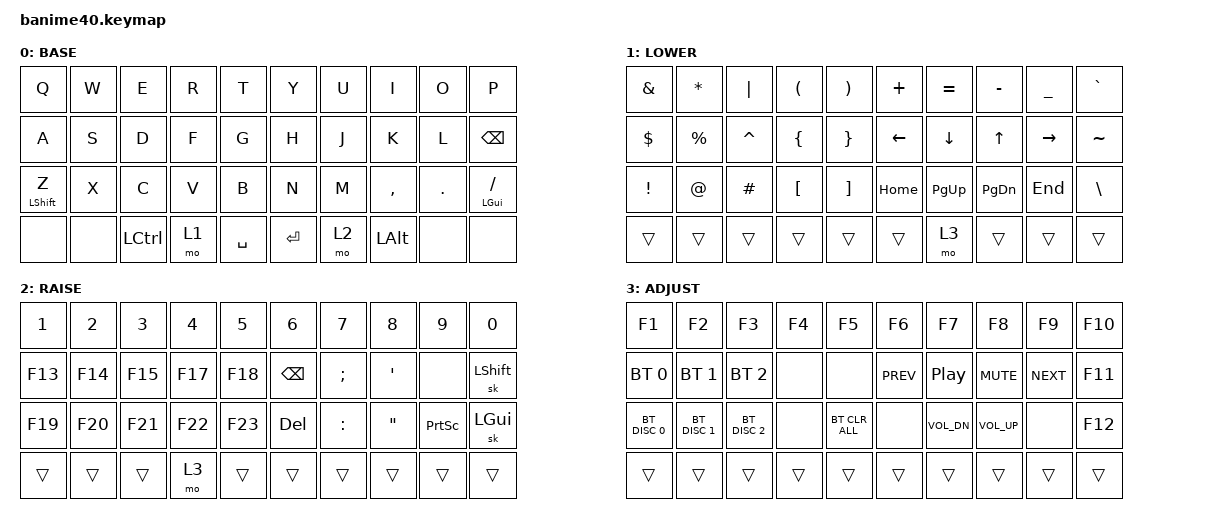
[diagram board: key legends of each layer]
/*
 * banime40 — ZMK keymap
 *
 * NOTE: keyboard.json (QMK) chỉ chứa phần cấu hình phần cứng, KHÔNG chứa
 * keymap.c, nên keymap dưới đây là bố cục ortho 4x10 mặc định hợp lý.
 * Chỉnh sửa tự do — mỗi layer đúng 40 phím (4 hàng x 10 cột).
 *
 * Layers:
 *   0 BASE   — QWERTY
 *   1 LOWER  — số & ký hiệu
 *   2 RAISE  — điều hướng & phím chức năng
 *   3 ADJUST — Bluetooth / reset / bootloader (LOWER + RAISE)
 */

#include <behaviors.dtsi>
#include <dt-bindings/zmk/bt.h>
#include <dt-bindings/zmk/keys.h>

&mt {
    tapping-term-ms = <230>;
    retro-tap;
};

&sk {
    release-after-ms = <300>;
    lazy;

    /delete-property/ ignore-modifiers;
};

/ {
    conditional_layers { compatible = "zmk,conditional-layers"; };

    combos {
        compatible = "zmk,combos";

        esc {
            bindings = <&kp ESC>;
            key-positions = <12 13>;
            timeout-ms = <50>;
        };

        backspace {
            bindings = <&kp BACKSPACE>;
            key-positions = <16 17>;
            timeout-ms = <50>;
        };

        tab {
            bindings = <&kp TAB>;
            key-positions = <12 11>;
            timeout-ms = <50>;
        };

        shift {
            bindings = <&sk LSHIFT>;
            key-positions = <20 21>;
            timeout-ms = <50>;
        };

        gui {
            bindings = <&sk LEFT_GUI>;
            key-positions = <21 22>;
            timeout-ms = <50>;
        };

        del {
            bindings = <&kp BACKSPACE>;
            key-positions = <16 17>;
            layers = <1>;
            timeout-ms = <50>;
        };

        cap {
            bindings = <&caps_word>;
            key-positions = <13 16>;
            timeout-ms = <50>;
        };
    };

    keymap {
        compatible = "zmk,keymap";

        base_layer {
            display-name = "BASE";
            bindings = <
&kp Q         &kp W  &kp E      &kp R  &kp T      &kp Y      &kp U  &kp I         &kp O    &kp P
&kp A         &kp S  &kp D      &kp F  &kp G      &kp H      &kp J  &kp K         &kp L    &kp BACKSPACE
&mt LSHIFT Z  &kp X  &kp C      &kp V  &kp B      &kp N      &kp M  &kp COMMA     &kp DOT  &mt LEFT_GUI SLASH
&none         &none  &kp LCTRL  &mo 1  &kp SPACE  &kp ENTER  &mo 2  &kp LEFT_ALT  &none    &none
            >;
        };

        lower_layer {
            display-name = "LOWER";
            bindings = <
&kp AMPS    &kp ASTRK    &kp PIPE   &kp LEFT_PARENTHESIS  &kp RIGHT_PARENTHESIS  &kp PLUS  &kp EQUAL    &kp MINUS      &kp UNDER  &kp GRAVE
&kp DOLLAR  &kp PERCENT  &kp CARET  &kp LEFT_BRACE        &kp RIGHT_BRACE        &kp LEFT  &kp DOWN     &kp UP         &kp RIGHT  &kp TILDE
&kp EXCL    &kp AT       &kp HASH   &kp LBKT              &kp RBKT               &kp HOME  &kp PAGE_UP  &kp PAGE_DOWN  &kp END    &kp BACKSLASH
&trans      &trans       &trans     &trans                &trans                 &trans    &mo 3        &trans         &trans     &trans
            >;
        };

        raise_layer {
            display-name = "RAISE";
            bindings = <
&kp N1   &kp N2   &kp N3   &kp N4   &kp N5   &kp N6         &kp N7     &kp N8            &kp N9     &kp N0
&kp F13  &kp F14  &kp F15  &kp F17  &kp F18  &kp BACKSPACE  &kp SEMI   &kp SINGLE_QUOTE  &none      &sk LSHIFT
&kp F19  &kp F20  &kp F21  &kp F22  &kp F23  &kp DEL        &kp COLON  &kp DQT           &kp PSCRN  &sk LEFT_GUI
&trans   &trans   &trans   &mo 3    &trans   &trans         &trans     &trans            &trans     &trans
            >;
        };

        adjust_layer {
            display-name = "ADJUST";
            bindings = <
&kp F1         &kp F2         &kp F3         &kp F4  &kp F5          &kp F6      &kp F7        &kp F8        &kp F9      &kp F10
&bt BT_SEL 0   &bt BT_SEL 1   &bt BT_SEL 2   &none   &none           &kp C_PREV  &kp C_PP      &kp C_MUTE    &kp C_NEXT  &kp F11
&bt BT_DISC 0  &bt BT_DISC 1  &bt BT_DISC 2  &none   &bt BT_CLR_ALL  &none       &kp C_VOL_DN  &kp C_VOL_UP  &none       &kp F12
&trans         &trans         &trans         &trans  &trans          &trans      &trans        &trans        &trans      &trans
            >;
        };
    };
};
